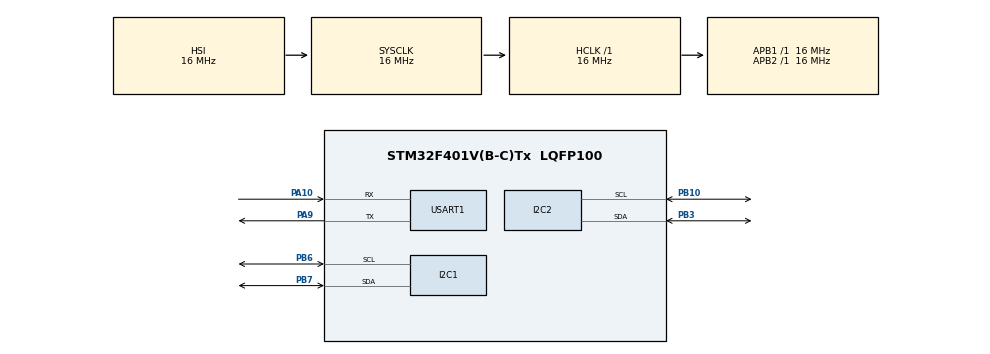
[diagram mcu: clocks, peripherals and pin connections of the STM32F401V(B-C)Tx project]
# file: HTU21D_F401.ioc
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Dma.I2C1_RX.0.Direction=DMA_PERIPH_TO_MEMORY
Dma.I2C1_RX.0.FIFOMode=DMA_FIFOMODE_DISABLE
Dma.I2C1_RX.0.Instance=DMA1_Stream0
Dma.I2C1_RX.0.MemDataAlignment=DMA_MDATAALIGN_BYTE
Dma.I2C1_RX.0.MemInc=DMA_MINC_DISABLE
Dma.I2C1_RX.0.Mode=DMA_NORMAL
Dma.I2C1_RX.0.PeriphDataAlignment=DMA_PDATAALIGN_BYTE
Dma.I2C1_RX.0.PeriphInc=DMA_PINC_DISABLE
Dma.I2C1_RX.0.Priority=DMA_PRIORITY_MEDIUM
Dma.Request0=I2C1_RX
Mcu.Family=STM32F4
Mcu.Name=STM32F401V(B-C)Tx
Mcu.Package=LQFP100
NVIC.DMA1_Stream0_IRQn=true\:0\:0\:false\:false\:true\:false\:true\:true
NVIC.PriorityGroup=NVIC_PRIORITYGROUP_4
PA10.Mode=Asynchronous
PA10.Signal=USART1_RX
PA9.Mode=Asynchronous
PA9.Signal=USART1_TX
PB10.Mode=I2C
PB10.Signal=I2C2_SCL
PB3.Mode=I2C
PB3.Signal=I2C2_SDA
PB6.Mode=I2C
PB6.Signal=I2C1_SCL
PB7.Mode=I2C
PB7.Signal=I2C1_SDA
ProjectManager.HeapSize=0x200
ProjectManager.StackSize=0x400
ProjectManager.TargetToolchain=STM32CubeIDE
RCC.AHBFreq_Value=16000000
RCC.APB1Freq_Value=16000000
RCC.APB2Freq_Value=16000000
RCC.CortexFreq_Value=16000000
RCC.HSE_VALUE=25000000
RCC.HSI_VALUE=16000000
RCC.LSE_VALUE=32768
RCC.SYSCLKFreq_VALUE=16000000
RCC.VCOOutputFreq_Value=192000000
USART1.VirtualMode=VM_ASYNC
board=custom

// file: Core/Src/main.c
/* USER CODE BEGIN Header */
/**
  ******************************************************************************
  * @file           : main.c
  * @brief          : Main program body
  ******************************************************************************
  * @attention
  *
  * Copyright (c) 2023 STMicroelectronics.
  * All rights reserved.
  *
  * This software is licensed under terms that can be found in the LICENSE file
  * in the root directory of this software component.
  * If no LICENSE file comes with this software, it is provided AS-IS.
  *
  ******************************************************************************
  */
/* USER CODE END Header */
#include "main.h"

/* USER CODE BEGIN Includes */
#include <string.h>
#include <stdio.h>
#include <stdlib.h>

/* USER CODE END Includes */

/* USER CODE BEGIN PD */
#define		TEMP_MEASUREMENT	0xF3
#define		HUMI_MEASUREMENT	0xF5
#define		WRITE_REGISTER		0xE6
#define		READ_REGISTER		0xE7
#define		DEVICE_ADDRESS      0x40
/* USER CODE END PD */

I2C_HandleTypeDef hi2c1;
I2C_HandleTypeDef hi2c2;
DMA_HandleTypeDef hdma_i2c1_rx;

UART_HandleTypeDef huart1;

void SystemClock_Config(void);
static void MX_GPIO_Init(void);
static void MX_DMA_Init(void);
static void MX_I2C2_Init(void);
static void MX_USART1_UART_Init(void);
static void MX_I2C1_Init(void);
/* USER CODE BEGIN PFP */
void HTU21D_SensorInit(void);
void HTU21D_MeasureTemp(void);
/* USER CODE END PFP */

/* USER CODE BEGIN 0 */
float temp;
float humidity;
float g_temp = 20.00f;
float g_humidity;
char output[50];
/* USER CODE END 0 */

int main(void)
{

  /* MCU Configuration--------------------------------------------------------*/

  /* Reset of all peripherals, Initializes the Flash interface and the Systick. */
  HAL_Init();

  /* Configure the system clock */
  SystemClock_Config();

  /* Initialize all configured peripherals */
  MX_GPIO_Init();
  MX_DMA_Init();
  MX_I2C2_Init();
  MX_USART1_UART_Init();
  MX_I2C1_Init();
  /* USER CODE BEGIN 2 */
  HTU21D_SensorInit();
  /* USER CODE END 2 */

  /* Infinite loop */
  /* USER CODE BEGIN WHILE */
  while (1)
  {
	 HAL_UART_Transmit(&huart1, (uint8_t*)"In while\r\n!", 10, 100);
	//HAL_UART_Transmit(&huart1, (uint8_t*)"in while\r\n", 10, 100);
	HTU21D_MeasureTemp();
	HAL_UART_Transmit(&huart1, (uint8_t*)"after func\r\n", 13, 100);
	sprintf(output, "temp:%.2f\r\n", g_temp);
	HAL_UART_Transmit(&huart1, (uint8_t*)output, strlen(output), 100);
	HAL_Delay(10);
    /* USER CODE END WHILE */

  }
}

void SystemClock_Config(void)
{
  RCC_OscInitTypeDef RCC_OscInitStruct = {0};
  RCC_ClkInitTypeDef RCC_ClkInitStruct = {0};

  /** Configure the main internal regulator output voltage
  */
  __HAL_RCC_PWR_CLK_ENABLE();
  __HAL_PWR_VOLTAGESCALING_CONFIG(PWR_REGULATOR_VOLTAGE_SCALE2);

  /** Initializes the RCC Oscillators according to the specified parameters
  * in the RCC_OscInitTypeDef structure.
  */
  RCC_OscInitStruct.OscillatorType = RCC_OSCILLATORTYPE_HSI;
  RCC_OscInitStruct.HSIState = RCC_HSI_ON;
  RCC_OscInitStruct.HSICalibrationValue = RCC_HSICALIBRATION_DEFAULT;
  RCC_OscInitStruct.PLL.PLLState = RCC_PLL_NONE;
  if (HAL_RCC_OscConfig(&RCC_OscInitStruct) != HAL_OK)
  {
    Error_Handler();
  }

  /** Initializes the CPU, AHB and APB buses clocks
  */
  RCC_ClkInitStruct.ClockType = RCC_CLOCKTYPE_HCLK|RCC_CLOCKTYPE_SYSCLK
                              |RCC_CLOCKTYPE_PCLK1|RCC_CLOCKTYPE_PCLK2;
  RCC_ClkInitStruct.SYSCLKSource = RCC_SYSCLKSOURCE_HSI;
  RCC_ClkInitStruct.AHBCLKDivider = RCC_SYSCLK_DIV1;
  RCC_ClkInitStruct.APB1CLKDivider = RCC_HCLK_DIV1;
  RCC_ClkInitStruct.APB2CLKDivider = RCC_HCLK_DIV1;

  if (HAL_RCC_ClockConfig(&RCC_ClkInitStruct, FLASH_LATENCY_0) != HAL_OK)
  {
    Error_Handler();
  }
}

static void MX_I2C1_Init(void)
{

  hi2c1.Instance = I2C1;
  hi2c1.Init.ClockSpeed = 100000;
  hi2c1.Init.DutyCycle = I2C_DUTYCYCLE_2;
  hi2c1.Init.OwnAddress1 = 0;
  hi2c1.Init.AddressingMode = I2C_ADDRESSINGMODE_7BIT;
  hi2c1.Init.DualAddressMode = I2C_DUALADDRESS_DISABLE;
  hi2c1.Init.OwnAddress2 = 0;
  hi2c1.Init.GeneralCallMode = I2C_GENERALCALL_DISABLE;
  hi2c1.Init.NoStretchMode = I2C_NOSTRETCH_DISABLE;
  if (HAL_I2C_Init(&hi2c1) != HAL_OK)
  {
    Error_Handler();
  }

}

static void MX_I2C2_Init(void)
{

  hi2c2.Instance = I2C2;
  hi2c2.Init.ClockSpeed = 100000;
  hi2c2.Init.DutyCycle = I2C_DUTYCYCLE_2;
  hi2c2.Init.OwnAddress1 = 0;
  hi2c2.Init.AddressingMode = I2C_ADDRESSINGMODE_7BIT;
  hi2c2.Init.DualAddressMode = I2C_DUALADDRESS_DISABLE;
  hi2c2.Init.OwnAddress2 = 0;
  hi2c2.Init.GeneralCallMode = I2C_GENERALCALL_DISABLE;
  hi2c2.Init.NoStretchMode = I2C_NOSTRETCH_DISABLE;
  if (HAL_I2C_Init(&hi2c2) != HAL_OK)
  {
    Error_Handler();
  }

}

static void MX_USART1_UART_Init(void)
{

  huart1.Instance = USART1;
  huart1.Init.BaudRate = 115200;
  huart1.Init.WordLength = UART_WORDLENGTH_8B;
  huart1.Init.StopBits = UART_STOPBITS_1;
  huart1.Init.Parity = UART_PARITY_NONE;
  huart1.Init.Mode = UART_MODE_TX_RX;
  huart1.Init.HwFlowCtl = UART_HWCONTROL_NONE;
  huart1.Init.OverSampling = UART_OVERSAMPLING_16;
  if (HAL_UART_Init(&huart1) != HAL_OK)
  {
    Error_Handler();
  }

}

static void MX_DMA_Init(void)
{

  /* DMA controller clock enable */
  __HAL_RCC_DMA1_CLK_ENABLE();

  /* DMA interrupt init */
  /* DMA1_Stream0_IRQn interrupt configuration */
  HAL_NVIC_SetPriority(DMA1_Stream0_IRQn, 0, 0);
  HAL_NVIC_EnableIRQ(DMA1_Stream0_IRQn);

}

static void MX_GPIO_Init(void)
{

  /* GPIO Ports Clock Enable */
  __HAL_RCC_GPIOB_CLK_ENABLE();
  __HAL_RCC_GPIOA_CLK_ENABLE();

}

/* USER CODE BEGIN 4 */
void HTU21D_SensorInit(void)
{
	uint8_t pData[] = {0xFE}; // SOFT_RESET
	if(HAL_I2C_Master_Transmit(&hi2c2, (DEVICE_ADDRESS << 1), pData, 1, HAL_MAX_DELAY) != HAL_OK)
	{
		Error_Handler();
	}
	/*if(HAL_I2C_Mem_Write(&hi2c2, (DEVICE_ADDRESS << 1), WRITE_REGISTER, 1, pData, 1, HAL_MAX_DELAY) != HAL_OK)
	{
		Error_Handler();
	}*/
	HAL_Delay(15);
	HAL_UART_Transmit(&huart1, (uint8_t*)"Sensor initialized!\r\n", 21, 100);
	HAL_StatusTypeDef is_ready = HAL_I2C_IsDeviceReady(&hi2c2, (DEVICE_ADDRESS << 1), 10, 100);
	sprintf(output, "is_ready:%d\r\n", is_ready);
	HAL_UART_Transmit(&huart1, (uint8_t*)output, strlen(output), 100);
	uint32_t error = HAL_I2C_GetError(&hi2c2);
	sprintf(output, "error:%lu\n\r", error);
	HAL_UART_Transmit(&huart1, (uint8_t*)output, strlen(output), 100);
}
void HTU21D_MeasureTemp(void)
{
	uint8_t temp[3];
	uint8_t cmd[] = {TEMP_MEASUREMENT};
	uint16_t raw_temp;
	while(HAL_I2C_IsDeviceReady(&hi2c2, (DEVICE_ADDRESS << 1), 4, HAL_MAX_DELAY) != HAL_OK);
	HAL_StatusTypeDef res = HAL_I2C_Master_Transmit(&hi2c2, (DEVICE_ADDRESS << 1), cmd, 1, 100);
	HAL_Delay(60000);
	while(HAL_I2C_IsDeviceReady(&hi2c2, (DEVICE_ADDRESS << 1), INT_LEAST16_MAX, HAL_MAX_DELAY) != HAL_OK);
	sprintf(output, "res:%d\r\n", res);
	HAL_UART_Transmit(&huart1, (uint8_t*)output, strlen(output), 100);
	HAL_StatusTypeDef is_ready = HAL_I2C_IsDeviceReady(&hi2c2, (DEVICE_ADDRESS << 1), 10, HAL_MAX_DELAY);
	sprintf(output, "is_ready:%d\r\n", is_ready);
	HAL_UART_Transmit(&huart1, (uint8_t*)output, strlen(output), 100);
	uint32_t error = HAL_I2C_GetError(&hi2c2);
	sprintf(output, "error:%lu\n\r", error);
	HAL_UART_Transmit(&huart1, (uint8_t*)output, strlen(output), 100);
	if (res == HAL_OK)
	{
		res = HAL_I2C_Master_Receive(&hi2c2, (DEVICE_ADDRESS << 1) | 0x01, temp, 3, HAL_MAX_DELAY);
		if (res == HAL_OK)
		{
			raw_temp = (temp[1] << 8) | temp[0];
			g_temp = -46.85 + 175.72 * raw_temp / 65536;
		}
		else
			HAL_UART_Transmit(&huart1, (uint8_t*)"Receive Failed!\r\n", 17, 100);
	}
	else
	{
		HAL_UART_Transmit(&huart1, (uint8_t*)"Tx Failed!\r\n", 12, 100);
		uint32_t error = HAL_I2C_GetError(&hi2c2);
		sprintf(output, "error:%lu\n\r", error);
		HAL_UART_Transmit(&huart1, (uint8_t*)output, strlen(output), 100);
	}

	/*if (res == HAL_OK)
	{
		res = HAL_I2C_Mem_Read(&hi2c2, (DEVICE_ADDRESS << 1) | 0x01, TEMP_MEASUREMENT, 1, temp, 2, 100);
		if (res == HAL_OK)
		{
			raw_temp = (temp[1] << 8) | temp[0];
			g_temp = -46.85 + 175.72 * raw_temp / 65536;
		}
		else
			HAL_UART_Transmit(&huart1, (uint8_t*)"Mem Read Failed!", 17, 100);
	}
	else
		HAL_UART_Transmit(&huart1, (uint8_t*)"Mem Write Failed!", 18, 100);*/
}
/* USER CODE END 4 */

void Error_Handler(void)
{
  /* USER CODE BEGIN Error_Handler_Debug */
  /* User can add his own implementation to report the HAL error return state */
  __disable_irq();
  HAL_UART_Transmit(&huart1, (uint8_t*)"Error Handler\r\n", 15, 100);
  while (1)
  {
  }
  /* USER CODE END Error_Handler_Debug */
}
